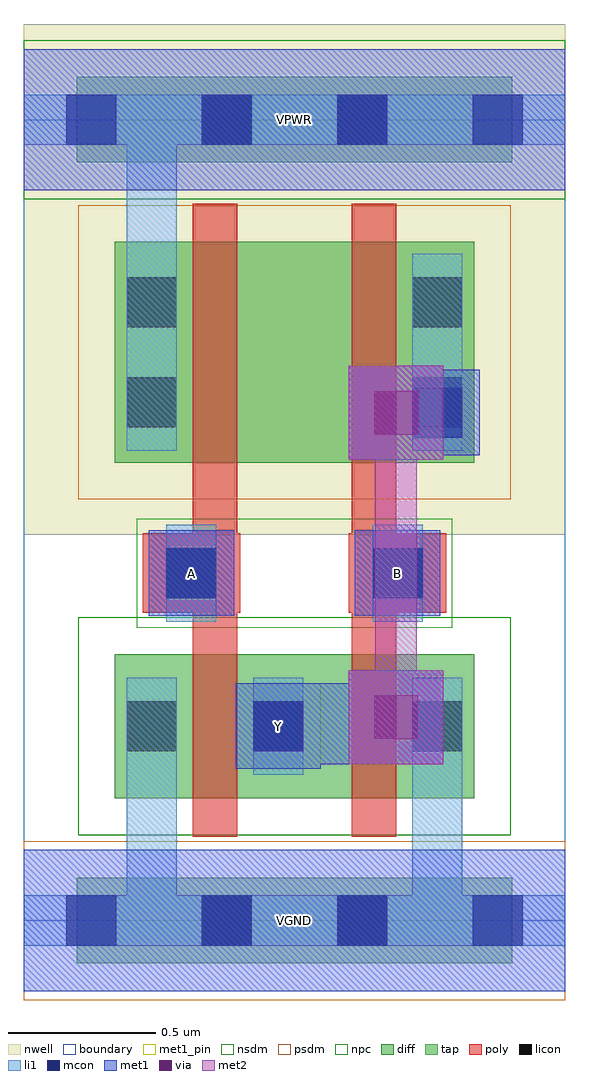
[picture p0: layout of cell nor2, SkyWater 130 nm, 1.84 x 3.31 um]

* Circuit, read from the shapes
.subckt nor2 A B VGND VPWR Y
XM1 Y A VGND VGND sky130_fd_pr__nfet_01v8 w=0.49 l=0.15
XM2 VGND B Y VGND sky130_fd_pr__nfet_01v8 w=0.49 l=0.15
XM3 n1 A VPWR VPWR sky130_fd_pr__pfet_01v8 w=0.75 l=0.15
XM4 Y B n1 VPWR sky130_fd_pr__pfet_01v8 w=0.75 l=0.15
.ends

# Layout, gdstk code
import gdstk
lib = gdstk.Library(unit=1e-6, precision=1e-09)
def R(c, l, rs):  # rectangles x0, y0, x1, y1
    for r in rs: c.add(gdstk.rectangle(r[:2], r[2:], *l))
def A(c, l, x, y, w, h, nx, ny, dx, dy):  # array of equal rectangles
    R(c, l, [(x+i*dx, y+j*dy, x+i*dx+w, y+j*dy+h) for i in range(nx) for j in range(ny)])
nwell = (64, 20)
diff = (65, 20)
tap = (65, 44)
poly = (66, 20)
licon = (66, 44)
li1 = (67, 20)
mcon = (67, 44)
met1_pin = (68, 16)
met1 = (68, 20)
via = (68, 44)
met2 = (69, 20)
nsdm = (93, 44)
psdm = (94, 20)
npc = (95, 20)
boundary = (235, 4)

nor2 = lib.new_cell('nor2')
R(nor2, nwell, [(0,1.31,1.84,3.045)])
R(nor2, diff, [(0.31,0.415,1.53,0.905), (0.31,1.555,1.53,2.305)])
R(nor2, tap, [(0.18,-0.145,1.66,0.145), (0.18,2.575,1.66,2.865)])
R(nor2, poly, [(0.575,0.285,0.725,2.435), (1.115,0.285,1.265,2.435), (0.405,1.045,0.735,1.315), (1.105,1.045,1.435,1.315)])
R(nor2, licon, [(0.605,-0.085,0.775,0.085), (1.065,-0.085,1.235,0.085), (0.35,0.575,0.52,0.745), (0.78,0.575,0.95,0.745), (1.32,0.575,1.49,0.745), (0.485,1.095,0.655,1.265), (1.185,1.095,1.355,1.265), (0.35,1.675,0.52,1.845), (1.32,1.675,1.49,1.845), (0.35,2.015,0.52,2.185), (1.32,2.015,1.49,2.185), (0.605,2.635,0.775,2.805), (1.065,2.635,1.235,2.805)])
R(nor2, li1, [(0,-0.085,1.84,0.085), (0.35,-0.085,0.52,0.825), (1.32,-0.085,1.49,0.825), (0.35,0.495,0.52,0.825), (0.78,0.495,0.95,0.825), (1.32,0.495,1.49,0.825), (0.485,1.015,0.655,1.345), (1.185,1.015,1.355,1.345), (0.35,1.595,0.52,2.265), (0.35,1.595,0.52,2.805), (1.32,1.595,1.49,2.265), (0,2.635,1.84,2.805)])
A(nor2, mcon, 0.145, -0.085, 0.17, 0.17, 4, 2, 0.46, 2.72)
R(nor2, mcon, [(0.78,0.575,0.95,0.745), (0.485,1.095,0.655,1.265), (1.185,1.095,1.355,1.265), (1.32,1.64,1.49,1.81)])
R(nor2, met1_pin, [(0,-0.24,1.84,0.24), (0.72,0.515,1.01,0.805), (0.425,1.035,0.715,1.325), (1.125,1.035,1.415,1.325), (0,2.48,1.84,2.96)])
R(nor2, met1, [(0,-0.24,1.84,0.24), (0.72,0.515,1.01,0.805), (1.01,0.53,1.105,0.805), (1.01,0.53,1.105,0.805), (1.01,0.53,1.105,0.805), (1.105,0.53,1.425,0.85), (0.85,0.62,0.99,0.76), (0.85,0.62,1.335,0.76), (0.99,0.62,1.105,0.76), (0.99,0.62,1.105,0.76), (0.99,0.62,1.105,0.76), (0.99,0.62,1.105,0.76), (0.99,0.62,1.105,0.76), (0.99,0.62,1.105,0.76), (0.99,0.62,1.01,0.76), (0.99,0.62,1.01,0.76), (0.99,0.62,1.01,0.76), (0.99,0.62,1.01,0.76), (0.99,0.62,1.01,0.76), (0.99,0.62,1.01,0.76), (1.01,0.62,1.105,0.76), (1.01,0.62,1.105,0.76), (1.01,0.62,1.105,0.76), (1.01,0.62,1.105,0.76), (0.425,1.035,0.715,1.325), (1.125,1.035,1.415,1.325), (1.105,1.565,1.425,1.885), (1.26,1.58,1.55,1.87), (1.195,1.655,1.475,1.795), (0,2.48,1.84,2.96)])
R(nor2, via, [(1.19,0.615,1.34,0.765), (1.19,1.65,1.34,1.8)])
R(nor2, met2, [(1.105,0.53,1.425,0.85), (1.195,0.62,1.335,1.795), (1.105,1.565,1.425,1.885)])
R(nor2, nsdm, [(0.185,0.29,1.655,1.03), (0,2.45,1.84,2.99)])
R(nor2, psdm, [(0,-0.27,1.84,0.27), (0.185,1.43,1.655,2.43)])
R(nor2, npc, [(0.385,0.995,1.455,1.365)])
R(nor2, boundary, [(0,0,1.84,2.72)])
nor2.add(gdstk.Label('A', (0.57,1.18), layer=68, texttype=5))
nor2.add(gdstk.Label('B', (1.27,1.18), layer=68, texttype=5))
nor2.add(gdstk.Label('Y', (0.865,0.66), layer=68, texttype=5))
nor2.add(gdstk.Label('VPWR', (0.92,2.72), layer=68, texttype=5))
nor2.add(gdstk.Label('VGND', (0.92,0), layer=68, texttype=5))
nor2.add(gdstk.Label('A', (0.57,1.18), layer=68, texttype=16))
nor2.add(gdstk.Label('B', (1.27,1.18), layer=68, texttype=16))
nor2.add(gdstk.Label('Y', (0.865,0.66), layer=68, texttype=16))
nor2.add(gdstk.Label('VPWR', (0.92,2.72), layer=68, texttype=16))
nor2.add(gdstk.Label('VGND', (0.92,0), layer=68, texttype=16))

lib.write_gds('nor2.gds')
